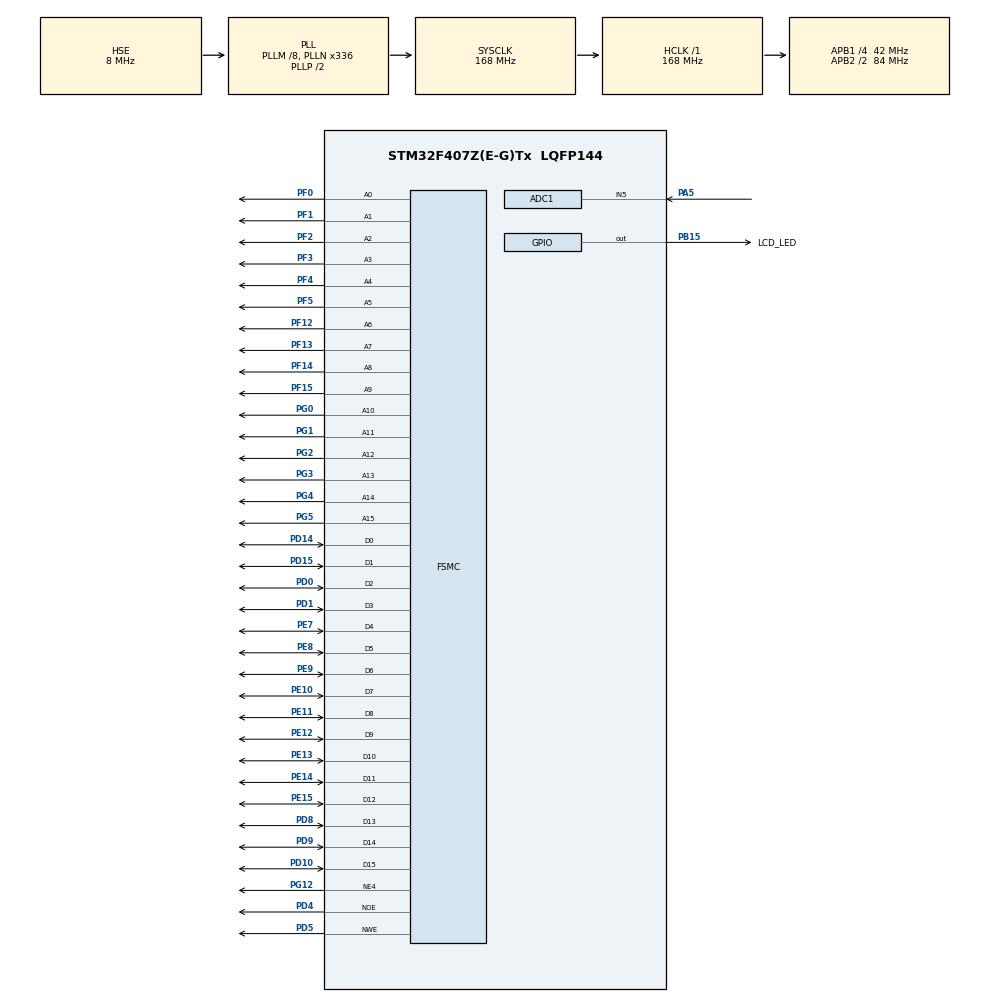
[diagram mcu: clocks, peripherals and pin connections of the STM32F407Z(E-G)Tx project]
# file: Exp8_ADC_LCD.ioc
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ADC1.Channel-0\#ChannelRegularConversion=ADC_CHANNEL_5
ADC1.NbrOfConversionFlag=1
ADC1.Rank-0\#ChannelRegularConversion=1
ADC1.SamplingTime-0\#ChannelRegularConversion=ADC_SAMPLETIME_480CYCLES
ADC1.master=1
FSMC.BusTurnAroundDuration1=0
FSMC.DataSetupTime1=60
FSMC.ExtendedAddressSetupTime1=3
FSMC.ExtendedBusTurnAroundDuration1=0
FSMC.ExtendedDataSetupTime1=3
FSMC.ExtendedMode1=FSMC_EXTENDED_MODE_ENABLE
FSMC.WriteOperation1=FSMC_WRITE_OPERATION_ENABLE
Mcu.Family=STM32F4
Mcu.Name=STM32F407Z(E-G)Tx
Mcu.Package=LQFP144
NVIC.PriorityGroup=NVIC_PRIORITYGROUP_4
PA13.Mode=Serial_Wire
PA13.Signal=SYS_JTMS-SWDIO
PA14.Mode=Serial_Wire
PA14.Signal=SYS_JTCK-SWCLK
PA5.Signal=ADCx_IN5
PB15.GPIO_Label=LCD_LED
PB15.PinState=GPIO_PIN_SET
PB15.Signal=GPIO_Output
PD0.Signal=FSMC_D2_DA2
PD1.Signal=FSMC_D3_DA3
PD10.Signal=FSMC_D15_DA15
PD14.Signal=FSMC_D0_DA0
PD15.Signal=FSMC_D1_DA1
PD4.Signal=FSMC_NOE
PD5.Signal=FSMC_NWE
PD8.Signal=FSMC_D13_DA13
PD9.Signal=FSMC_D14_DA14
PE10.Signal=FSMC_D7_DA7
PE11.Signal=FSMC_D8_DA8
PE12.Signal=FSMC_D9_DA9
PE13.Signal=FSMC_D10_DA10
PE14.Signal=FSMC_D11_DA11
PE15.Signal=FSMC_D12_DA12
PE7.Signal=FSMC_D4_DA4
PE8.Signal=FSMC_D5_DA5
PE9.Signal=FSMC_D6_DA6
PF0.Signal=FSMC_A0
PF1.Signal=FSMC_A1
PF12.Signal=FSMC_A6
PF13.Signal=FSMC_A7
PF14.Signal=FSMC_A8
PF15.Signal=FSMC_A9
PF2.Signal=FSMC_A2
PF3.Signal=FSMC_A3
PF4.Signal=FSMC_A4
PF5.Signal=FSMC_A5
PG0.Signal=FSMC_A10
PG1.Signal=FSMC_A11
PG12.Mode=NorPsramChipSelect4_1
PG12.Signal=FSMC_NE4
PG2.Signal=FSMC_A12
PG3.Signal=FSMC_A13
PG4.Signal=FSMC_A14
PG5.Signal=FSMC_A15
PH0-OSC_IN.Mode=HSE-External-Oscillator
PH0-OSC_IN.Signal=RCC_OSC_IN
PH1-OSC_OUT.Mode=HSE-External-Oscillator
PH1-OSC_OUT.Signal=RCC_OSC_OUT
ProjectManager.HeapSize=0x200
ProjectManager.StackSize=0x400
ProjectManager.TargetToolchain=CMake
RCC.48MHZClocksFreq_Value=84000000
RCC.AHBFreq_Value=168000000
RCC.APB1CLKDivider=RCC_HCLK_DIV4
RCC.APB1Freq_Value=42000000
RCC.APB1TimFreq_Value=84000000
RCC.APB2CLKDivider=RCC_HCLK_DIV2
RCC.APB2Freq_Value=84000000
RCC.APB2TimFreq_Value=168000000
RCC.CortexFreq_Value=168000000
RCC.HCLKFreq_Value=168000000
RCC.HSE_VALUE=8000000
RCC.HSI_VALUE=16000000
RCC.LSE_VALUE=32768
RCC.PLLM=8
RCC.PLLN=336
RCC.PLLSourceVirtual=RCC_PLLSOURCE_HSE
RCC.SYSCLKFreq_VALUE=168000000
RCC.SYSCLKSource=RCC_SYSCLKSOURCE_PLLCLK
RCC.VCOOutputFreq_Value=336000000
SH.ADCx_IN5.0=ADC1_IN5,IN5
SH.FSMC_A0.0=FSMC_A0,16b-a1
SH.FSMC_A1.0=FSMC_A1,16b-a1
SH.FSMC_A10.0=FSMC_A10,16b-a1
SH.FSMC_A11.0=FSMC_A11,16b-a1
SH.FSMC_A12.0=FSMC_A12,16b-a1
SH.FSMC_A13.0=FSMC_A13,16b-a1
SH.FSMC_A14.0=FSMC_A14,16b-a1
SH.FSMC_A15.0=FSMC_A15,16b-a1
SH.FSMC_A2.0=FSMC_A2,16b-a1
SH.FSMC_A3.0=FSMC_A3,16b-a1
SH.FSMC_A4.0=FSMC_A4,16b-a1
SH.FSMC_A5.0=FSMC_A5,16b-a1
SH.FSMC_A6.0=FSMC_A6,16b-a1
SH.FSMC_A7.0=FSMC_A7,16b-a1
SH.FSMC_A8.0=FSMC_A8,16b-a1
SH.FSMC_A9.0=FSMC_A9,16b-a1
SH.FSMC_D0_DA0.0=FSMC_D0,16b-d1
SH.FSMC_D10_DA10.0=FSMC_D10,16b-d1
SH.FSMC_D11_DA11.0=FSMC_D11,16b-d1
SH.FSMC_D12_DA12.0=FSMC_D12,16b-d1
SH.FSMC_D13_DA13.0=FSMC_D13,16b-d1
SH.FSMC_D14_DA14.0=FSMC_D14,16b-d1
SH.FSMC_D15_DA15.0=FSMC_D15,16b-d1
SH.FSMC_D1_DA1.0=FSMC_D1,16b-d1
SH.FSMC_D2_DA2.0=FSMC_D2,16b-d1
SH.FSMC_D3_DA3.0=FSMC_D3,16b-d1
SH.FSMC_D4_DA4.0=FSMC_D4,16b-d1
SH.FSMC_D5_DA5.0=FSMC_D5,16b-d1
SH.FSMC_D6_DA6.0=FSMC_D6,16b-d1
SH.FSMC_D7_DA7.0=FSMC_D7,16b-d1
SH.FSMC_D8_DA8.0=FSMC_D8,16b-d1
SH.FSMC_D9_DA9.0=FSMC_D9,16b-d1
SH.FSMC_NOE.0=FSMC_NOE,Sram1
SH.FSMC_NWE.0=FSMC_NWE,Sram1
board=custom

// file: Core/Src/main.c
/* USER CODE BEGIN Header */
/**
  ******************************************************************************
  * @file           : main.c
  * @brief          : Main program body
  ******************************************************************************
  * @attention
  *
  * Copyright (c) 2026 STMicroelectronics.
  * All rights reserved.
  *
  * This software is licensed under terms that can be found in the LICENSE file
  * in the root directory of this software component.
  * If no LICENSE file comes with this software, it is provided AS-IS.
  *
  ******************************************************************************
  */
/* USER CODE END Header */
#include "main.h"
#include "adc.h"
#include "gpio.h"
#include "fsmc.h"

/* USER CODE BEGIN Includes */
#include "lcd.h"
#include <stdio.h>
/* USER CODE END Includes */

/* USER CODE BEGIN PV */
#define WAVE_WIDTH  46
#define WAVE_HEIGHT 220
#define WAVE_Y_TOP  40
#define WAVE_X_LEFT 10

// 3.06 ~ 3.14
#define ADC_MAX  (uint16_t)(3.06f / 3.3f * 4095)
#define ADC_MIN  (uint16_t)(3.14f / 3.3f * 4095)

static uint16_t wave_buf[WAVE_WIDTH];
static uint16_t wave_pos = 0;
static uint8_t screen_full = 0;
/* USER CODE END PV */

void SystemClock_Config(void);

int main(void) {

    /* MCU Configuration--------------------------------------------------------*/

    /* Reset of all peripherals, Initializes the Flash interface and the Systick. */
    HAL_Init();

    /* Configure the system clock */
    SystemClock_Config();

    /* Initialize all configured peripherals */
    MX_GPIO_Init();
    MX_ADC1_Init();
    MX_FSMC_Init();
    /* USER CODE BEGIN 2 */
    LCD_Init();
    LCD_Clear(BLACK);
    POINT_COLOR = WHITE;
    BACK_COLOR = BLACK;
    LCD_ShowString(30, 10, 200, 16, 16, (uint8_t *) "ADC Waveform");

    for (uint16_t i = 0; i < WAVE_WIDTH; i++)
        wave_buf[i] = 0;

    /* USER CODE END 2 */

    /* Infinite loop */
    while (1) {

        /* USER CODE BEGIN 3 */
        HAL_ADC_Start(&hadc1);
        HAL_ADC_PollForConversion(&hadc1, HAL_MAX_DELAY);
        uint16_t adc_val = HAL_ADC_GetValue(&hadc1);
        HAL_ADC_Stop(&hadc1);

        // Display ADC value
        char buf[32];
        sprintf(buf, "ADC:%4d", adc_val);
        LCD_ShowString(10, 270, 200, 16, 16, (uint8_t *) buf);

        uint16_t wave_y;
        if (adc_val <= ADC_MIN) {
            wave_y = 0;
        } else if (adc_val >= ADC_MAX) {
            wave_y = WAVE_HEIGHT;
        } else {
            wave_y = ((uint32_t)(adc_val - ADC_MIN) * WAVE_HEIGHT) / (ADC_MAX - ADC_MIN);
        }

        if (!screen_full) {
            if (wave_pos > 0) {
                uint16_t prev_y = wave_buf[wave_pos - 1];
                uint16_t prev_x = WAVE_X_LEFT + (wave_pos - 1) * 10;
                LCD_DrawLine(prev_x, WAVE_Y_TOP + (WAVE_HEIGHT - prev_y),
                             WAVE_X_LEFT + wave_pos * 10, WAVE_Y_TOP + (WAVE_HEIGHT - wave_y));
            }
            wave_buf[wave_pos] = wave_y;
            wave_pos++;
            if (wave_pos >= WAVE_WIDTH) screen_full = 1;
        } else {
            POINT_COLOR = BLACK;
            for (uint16_t i = 1; i < WAVE_WIDTH; i++) {
                LCD_DrawLine(WAVE_X_LEFT + (i - 1) * 10, WAVE_Y_TOP + (WAVE_HEIGHT - wave_buf[i - 1]),
                             WAVE_X_LEFT + i * 10,     WAVE_Y_TOP + (WAVE_HEIGHT - wave_buf[i]));
            }

            for (uint16_t i = 0; i < WAVE_WIDTH - 1; i++) {
                wave_buf[i] = wave_buf[i + 1];
            }
            wave_buf[WAVE_WIDTH - 1] = wave_y;

            POINT_COLOR = WHITE;
            for (uint16_t i = 1; i < WAVE_WIDTH; i++) {
                LCD_DrawLine(WAVE_X_LEFT + (i - 1) * 10, WAVE_Y_TOP + (WAVE_HEIGHT - wave_buf[i - 1]),
                             WAVE_X_LEFT + i * 10,     WAVE_Y_TOP + (WAVE_HEIGHT - wave_buf[i]));
            }
        }

        // TODO: Fix waveform sliding animation bug.
        // The overlapping line redraw clears
        // the static axes. The coordinate axes should be drawn once during initialization,
        // not repeatedly in the infinite loop.

        LCD_DrawLine(WAVE_X_LEFT, WAVE_Y_TOP + WAVE_HEIGHT, WAVE_X_LEFT + WAVE_WIDTH * 10, WAVE_Y_TOP + WAVE_HEIGHT);
        // X
        LCD_DrawLine(WAVE_X_LEFT + WAVE_WIDTH * 10, WAVE_Y_TOP + WAVE_HEIGHT, WAVE_X_LEFT + WAVE_WIDTH * 10 - 8, WAVE_Y_TOP + WAVE_HEIGHT - 4);
        LCD_DrawLine(WAVE_X_LEFT + WAVE_WIDTH * 10, WAVE_Y_TOP + WAVE_HEIGHT, WAVE_X_LEFT + WAVE_WIDTH * 10 - 8, WAVE_Y_TOP + WAVE_HEIGHT + 4);

        LCD_DrawLine(WAVE_X_LEFT, WAVE_Y_TOP, WAVE_X_LEFT, WAVE_Y_TOP + WAVE_HEIGHT);
        // Y
        LCD_DrawLine(WAVE_X_LEFT, WAVE_Y_TOP, WAVE_X_LEFT - 4, WAVE_Y_TOP + 8);
        LCD_DrawLine(WAVE_X_LEFT, WAVE_Y_TOP, WAVE_X_LEFT + 4, WAVE_Y_TOP + 8);

        LCD_ShowChar(WAVE_X_LEFT - 10, WAVE_Y_TOP + 4, 'V', 16, 0);
        LCD_ShowChar(WAVE_X_LEFT + WAVE_WIDTH * 10 - 10, WAVE_Y_TOP + WAVE_HEIGHT + 4, 't', 16, 0);

        HAL_Delay(50);
        /* USER CODE END 3 */
    }
}

void SystemClock_Config(void) {
    RCC_OscInitTypeDef RCC_OscInitStruct = {0};
    RCC_ClkInitTypeDef RCC_ClkInitStruct = {0};

    /** Configure the main internal regulator output voltage
    */
    __HAL_RCC_PWR_CLK_ENABLE();
    __HAL_PWR_VOLTAGESCALING_CONFIG(PWR_REGULATOR_VOLTAGE_SCALE1);

    /** Initializes the RCC Oscillators according to the specified parameters
    * in the RCC_OscInitTypeDef structure.
    */
    RCC_OscInitStruct.OscillatorType = RCC_OSCILLATORTYPE_HSE;
    RCC_OscInitStruct.HSEState = RCC_HSE_ON;
    RCC_OscInitStruct.PLL.PLLState = RCC_PLL_ON;
    RCC_OscInitStruct.PLL.PLLSource = RCC_PLLSOURCE_HSE;
    RCC_OscInitStruct.PLL.PLLM = 8;
    RCC_OscInitStruct.PLL.PLLN = 336;
    RCC_OscInitStruct.PLL.PLLP = RCC_PLLP_DIV2;
    RCC_OscInitStruct.PLL.PLLQ = 4;
    if (HAL_RCC_OscConfig(&RCC_OscInitStruct) != HAL_OK) {
        Error_Handler();
    }

    /** Initializes the CPU, AHB and APB buses clocks
    */
    RCC_ClkInitStruct.ClockType = RCC_CLOCKTYPE_HCLK | RCC_CLOCKTYPE_SYSCLK
                                  | RCC_CLOCKTYPE_PCLK1 | RCC_CLOCKTYPE_PCLK2;
    RCC_ClkInitStruct.SYSCLKSource = RCC_SYSCLKSOURCE_PLLCLK;
    RCC_ClkInitStruct.AHBCLKDivider = RCC_SYSCLK_DIV1;
    RCC_ClkInitStruct.APB1CLKDivider = RCC_HCLK_DIV4;
    RCC_ClkInitStruct.APB2CLKDivider = RCC_HCLK_DIV2;

    if (HAL_RCC_ClockConfig(&RCC_ClkInitStruct, FLASH_LATENCY_5) != HAL_OK) {
        Error_Handler();
    }
}

void Error_Handler(void) {
    __disable_irq();
    while (1) {
    }
}
